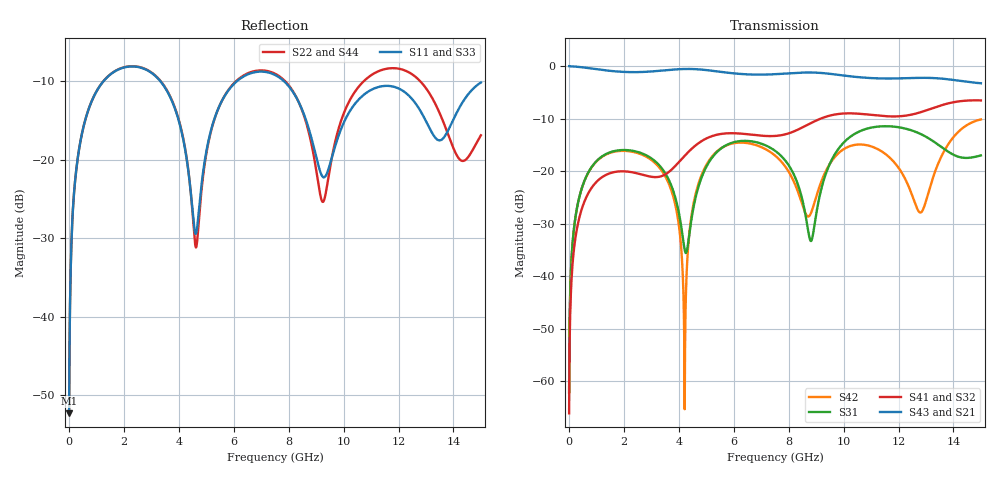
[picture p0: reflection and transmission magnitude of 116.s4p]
! Created with skrf 1.8.0 (http://scikit-rf.org).
# GHz S RI R 50.0
!freq ReS11 ImS11 ReS12 ImS12 ReS13 ImS13
! ReS14 ImS14
! ReS21 ImS21 ReS22 ImS22 ReS23 ImS23
! ReS24 ImS24
! ReS31 ImS31 ReS32 ImS32 ReS33 ImS33
! ReS34 ImS34
! ReS41 ImS41 ReS42 ImS42 ReS43 ImS43
! ReS44 ImS44
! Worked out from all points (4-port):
!   2499 points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, 5 MHz to 15 GHz, reference 50 ohm
!   strongest paths, dB at 5 MHz, 3.476 GHz, 7.19 GHz, 11.1 GHz, 15 GHz:
!     S43: 0.0, -0.8, -1.6, -2.3, -3.3
!     S21: 0.0, -0.8, -1.6, -2.3, -3.3
!     S41: -66.1, -20.7, -13.3, -9.3, -6.5
!     S32: -66.1, -20.7, -13.3, -9.4, -6.5
!     S31: -62.1, -20.2, -15.2, -11.6, -17.0
!     S42: -62.1, -20.7, -15.9, -15.5, -10.2
!   lowest |S11| = -52.3 dB at 5 MHz (marker M1), VSWR 1.00, Z = 50.2 + j0.148 ohm
!   |S11| at or under -10 dB: start of sweep to 1.263 GHz; 3.321 GHz to 6.124 GHz (2.802 GHz wide, 59.3 % of centre); 7.822 GHz to end of sweep
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0.005  0.00194 0.00147  0.998 -0.00377  9.88e-05 0.000779  -9.57e-05 -0.000487
       0.998 -0.00377  0.00194 0.00147  -9.57e-05 -0.000487  9.86e-05 0.000779
       9.88e-05 0.000779  -9.57e-05 -0.000487  0.00194 0.00147  0.998 -0.00377
       -9.57e-05 -0.000487  9.86e-05 0.000779  0.998 -0.00377  0.00194 0.00147
0.3126303  0.0319 0.0951  0.9562 -0.2328  0.0154 0.0451  -0.0126 -0.0277
           0.9562 -0.2328  0.032 0.0951  -0.0126 -0.0277  0.0149 0.0453
           0.0154 0.0451  -0.0126 -0.0277  0.0319 0.0951  0.9562 -0.2328
           -0.0126 -0.0277  0.0149 0.0453  0.9562 -0.2328  0.032 0.0951
1.369321  0.2828 0.1724  0.5195 -0.7453  0.1359 0.0547  -0.0928 -0.00125
          0.5195 -0.7453  0.2844 0.1712  -0.0927 -0.0013  0.1314 0.0612
          0.1359 0.0547  -0.0927 -0.0013  0.2828 0.1724  0.5195 -0.7453
          -0.0928 -0.00125  0.1314 0.0612  0.5195 -0.7453  0.2844 0.1713
4.214256  0.0616 -0.103  -0.8768 -0.3345  -0.0159 -0.00817  -0.0455 0.1326
          -0.8768 -0.3345  0.0561 -0.1082  -0.0459 0.1325  0.0005 0.000212
          -0.0159 -0.00817  -0.0459 0.1325  0.0626 -0.1036  -0.8766 -0.3348
          -0.0455 0.1326  0.0005 0.000212  -0.8766 -0.3348  0.0558 -0.1092
5.314714  0.1222 0.1401  -0.8176 0.3645  0.1016 0.1038  0.1182 0.1853
          -0.8176 0.3645  0.1187 0.1413  0.1175 0.1854  0.1028 0.1063
          0.1016 0.1038  0.1175 0.1854  0.1227 0.1381  -0.8182 0.364
          0.1182 0.1853  0.1028 0.1063  -0.8182 0.364  0.1164 0.1404
9.322634  0.0777 0.00211  0.848 0.0994  0.0289 0.0847  0.0256 -0.3265
          0.848 0.0994  0.0558 0.0156  0.0283 -0.3264  -0.0142 0.0954
          0.0289 0.0847  0.0283 -0.3264  0.0762 0.00588  0.8483 0.0977
          0.0256 -0.3265  -0.0142 0.0954  0.8483 0.0977  0.0562 0.0194
15  0.2937 0.0977  -0.6246 0.287  0.0813 0.1153  0.2513 0.3988
    -0.6246 0.287  0.1377 0.0378  0.2462 0.401  0.2883 0.1154
    0.0813 0.1153  0.2462 0.401  0.2949 0.1016  -0.6229 0.289
    0.2513 0.3988  0.2883 0.1154  -0.6229 0.289  0.1379 0.0399
